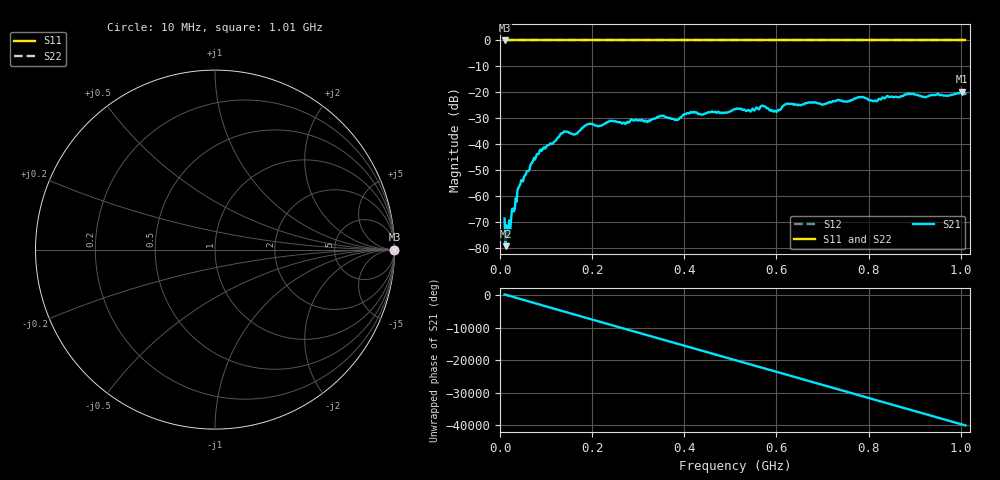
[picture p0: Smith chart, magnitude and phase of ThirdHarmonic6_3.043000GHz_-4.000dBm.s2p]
! 8/17/2025 8:49:01 AM
! C:\ANRITSUVNA\TEMP\TEMP.S2P
! CHANNEL.1
! TR.MEASUREMENT
! RAW.DATA
! RF.CORRECTION.OFF
! AVERAGING.OFF
! IF.BANDWIDTH: 5KHZ
! SWEEPTYPE:  FREQ.SWEEP(Linear)
! Reference Plane Port Info
! PORT:  PORT1  PORT2
! DISTANCE:  0  m  0  m
! TIME:  0  s  0  s
! PHASE.OFFSET:  0  deg.  0  deg.
! LOSS:  0  dB  0  dB
! REF.LOSS:  0  dB  0  dB
! REF.FREQ:  0  Hz  0  Hz
! Power Info
! POWER:  -20  dBm  -20  dBm
! EFF.POWER:  -20  dBm  -20  dBm
! SOURCE.ATTEN:  0  dB  0  dB
! TEST.ATTEN:  0  dB  0  dB
# GHZ S RI R 50.0
! FREQ.GHZ  S11RE  S11IM  S21RE  S21IM  S12RE  S12IM  S22RE  S22IM
!; PortSelection: Port_12
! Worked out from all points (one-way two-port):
!   501 points, 10 MHz to 1.01 GHz, reference 50 ohm
!   highest |S21| = -19.77 dB at 1.002 GHz (marker M1); lowest = -79.2 dB at 12 MHz (marker M2)
!   lowest |S11| = 0.0 dB at 10 MHz (marker M3)
!   |S11| at or under -10 dB: nowhere
!   |S22| runs from 0.0 to 0.0 dB; largest |S21 - S12| = 1.1
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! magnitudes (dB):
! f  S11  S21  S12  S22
! 10 MHz  0.0  -68.6  0.0  0.0
! 12 MHz  0.0  -79.2  0.0  0.0
! 16 MHz  0.0  -72.6  0.0  0.0
! 20 MHz  0.0  -69.3  0.0  0.0
! 42 MHz  0.0  -56.1  0.0  0.0
! 84 MHz  0.0  -43.7  0.0  0.0
! 136 MHz  0.0  -35.7  0.0  0.0
! 164 MHz  0.0  -36.0  0.0  0.0
! 178 MHz  0.0  -33.8  0.0  0.0
! 344 MHz  0.0  -29.5  0.0  0.0
! 384 MHz  0.0  -30.5  0.0  0.0
! 416 MHz  0.0  -27.8  0.0  0.0
! 510 MHz  0.0  -26.5  0.0  0.0
! 570 MHz  0.0  -25.1  0.0  0.0
! 598 MHz  0.0  -27.1  0.0  0.0
! 622 MHz  0.0  -24.5  0.0  0.0
! 678 MHz  0.0  -23.9  0.0  0.0
! 782 MHz  0.0  -21.8  0.0  0.0
! 814 MHz  0.0  -23.1  0.0  0.0
! 844 MHz  0.0  -21.7  0.0  0.0
! 1.002 GHz  0.0  -19.8  0.0  0.0
! 1.01 GHz  0.0  -20.5  0.0  0.0
